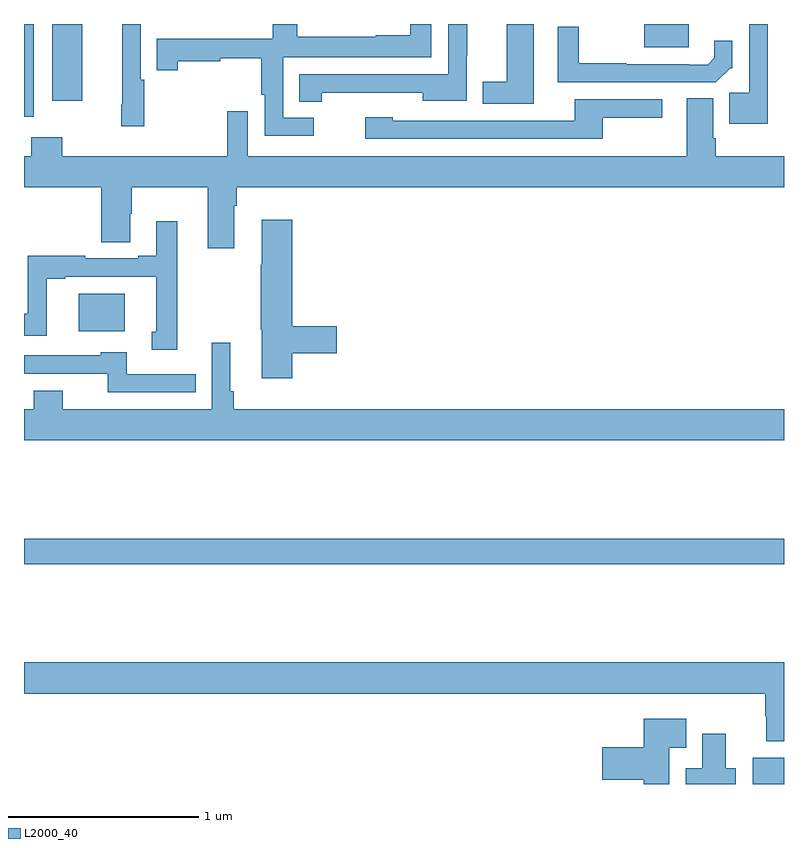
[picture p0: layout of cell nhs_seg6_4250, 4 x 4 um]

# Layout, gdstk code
import gdstk
lib = gdstk.Library(unit=1e-6, precision=1e-09)
def R(c, l, rs):  # rectangles x0, y0, x1, y1
    for r in rs: c.add(gdstk.rectangle(r[:2], r[2:], *l))
def P(c, l, *ps):  # polygons
    for p in ps: c.add(gdstk.Polygon(p, *l))
L2000_40 = (2000, 40)

nhs_seg6_4250 = lib.new_cell('nhs_seg6_4250')
R(nhs_seg6_4250, L2000_40, [(364.835,973.5,365,973.639), (361,974.656,365,974.792), (361.289,975.884,361.531,976.081), (361,977.013,361.05,977.5), (361.148,977.097,361.306,977.5), (364.265,977.378,364.498,977.5)])
P(nhs_seg6_4250, L2000_40, [(362.524,977.007),(362.364,977.007),(362.364,977.325),(363.144,977.325),(363.144,977.5),(363.032,977.5),(363.032,977.441),(362.851,977.441),(362.851,977.434),(362.437,977.434),(362.437,977.5),(362.309,977.5),(362.309,977.422),(361.699,977.422),(361.699,977.256),(361.81,977.256),(361.81,977.305),(362.034,977.305),(362.034,977.32),(362.248,977.32),(362.248,977.128),(362.268,977.128),(362.268,976.911),(362.524,976.911)],
  [(363.682,977.5),(363.542,977.5),(363.542,977.196),(363.415,977.196),(363.415,977.081),(363.682,977.081)],
  [(364.914,977.5),(364.818,977.5),(364.818,977.137),(364.712,977.137),(364.712,976.976),(364.914,976.976)],
  [(362.568,977.138),(363.098,977.138),(363.098,977.096),(363.33,977.096),(363.33,977.332),(363.332,977.332),(363.332,977.5),(363.234,977.5),(363.234,977.235),(362.449,977.235),(362.449,977.092),(362.568,977.092)],
  [(361.634,977.206),(361.614,977.206),(361.614,977.5),(361.517,977.5),(361.517,977.074),(361.511,977.074),(361.511,976.962),(361.634,976.962)],
  [(364.717,977.268),(364.728,977.268),(364.728,977.413),(364.634,977.413),(364.634,977.322),(364.598,977.286),(364.499,977.286),(364.499,977.289),(364.169,977.289),(364.169,977.294),(363.919,977.294),(363.919,977.485),(363.81,977.485),(363.81,977.193),(364.642,977.193)],
  [(362.107,976.544),(362.12,976.544),(362.12,976.64),(365,976.64),(365,976.804),(364.64,976.804),(364.64,976.9),(364.627,976.9),(364.627,977.108),(364.487,977.108),(364.487,976.804),(362.178,976.804),(362.178,977.041),(362.07,977.041),(362.07,976.804),(361.202,976.804),(361.202,976.903),(361.037,976.903),(361.037,976.804),(361,976.804),(361,976.64),(361.406,976.64),(361.406,976.351),(361.558,976.351),(361.558,976.502),(361.566,976.502),(361.566,976.64),(361.967,976.64),(361.967,976.32),(362.107,976.32)],
  [(364.047,977.006),(364.36,977.006),(364.36,977.103),(363.899,977.103),(363.899,976.992),(362.94,976.992),(362.94,977.008),(362.796,977.008),(362.796,976.896),(364.047,976.896)],
  [(362.411,975.766),(362.647,975.766),(362.647,975.908),(362.411,975.908),(362.411,976.471),(362.252,976.471),(362.252,976.232),(362.245,976.232),(362.245,975.891),(362.252,975.891),(362.252,975.636),(362.411,975.636)],
  [(361.807,976.462),(361.697,976.462),(361.697,976.279),(361.601,976.279),(361.601,976.266),(361.322,976.266),(361.322,976.279),(361.021,976.279),(361.021,975.974),(361,975.974),(361,975.858),(361.12,975.858),(361.12,976.158),(361.216,976.158),(361.216,976.17),(361.697,976.17),(361.697,975.879),(361.673,975.879),(361.673,975.785),(361.807,975.785)],
  [(365,975.472),(362.105,975.472),(362.105,975.568),(362.086,975.568),(362.086,975.823),(361.989,975.823),(361.989,975.472),(361.204,975.472),(361.204,975.571),(361.052,975.571),(361.052,975.472),(361,975.472),(361,975.308),(365,975.308)],
  [(361.904,975.657),(361.54,975.657),(361.54,975.772),(361.404,975.772),(361.404,975.756),(361,975.756),(361,975.66),(361.441,975.66),(361.441,975.561),(361.904,975.561)],
  [(365,974.14),(361,974.14),(361,973.976),(364.9,973.976),(364.9,973.856),(364.907,973.856),(364.907,973.724),(365,973.724)],
  [(364.396,973.691),(364.486,973.691),(364.486,973.843),(364.262,973.843),(364.262,973.693),(364.044,973.693),(364.044,973.523),(364.262,973.523),(364.262,973.5),(364.396,973.5)],
  [(364.747,973.582),(364.693,973.582),(364.693,973.765),(364.571,973.765),(364.571,973.582),(364.484,973.582),(364.484,973.5),(364.747,973.5)])

lib.write_gds('nhs_seg6_4250.gds')
